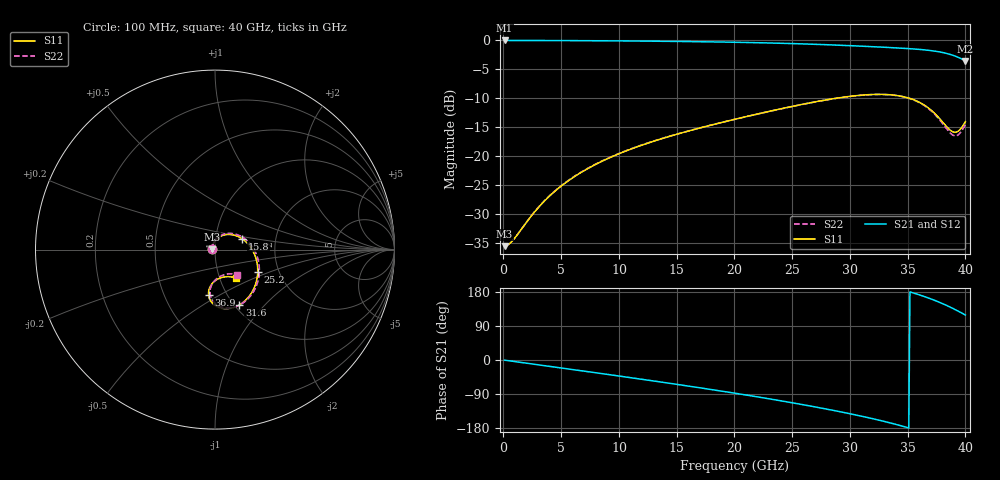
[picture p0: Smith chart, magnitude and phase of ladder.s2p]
! A_s4_d200_ap800: via ladder as kisi uses it (kisi_si::via_pbm, graded grid, junction model), ports at the via
# Hz S RI R 50
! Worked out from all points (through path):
!   400 points, 100 MHz to 40 GHz, reference 50 ohm
!   highest |S21| = -0.15 dB at 100 MHz (marker M1); lowest = -3.7 dB at 40 GHz (marker M2)
!   group delay of S21, straight-line fit = 15 ps
!   lowest |S11| = -35.5 dB at 100 MHz (marker M3), VSWR 1.03, Z = 48.3 + j0.116 ohm
!   |S11| at or under -10 dB: start of sweep to 29.05 GHz; 35.03 GHz to end of sweep
!   |S22| runs from -35.5 to -9.4 dB; largest |S21 - S12| = 0
!   S11 on the Smith chart (normalised r, x): 100 MHz: 0.97, +0.00; 15.8 GHz: 1.34, +0.17; 25.2 GHz: 1.55, -0.42; 31.6 GHz: 1.05, -0.73; 36.9 GHz: 0.82, -0.44; 40 GHz: 1.20, -0.39
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1e8  -0.0168 0.0012  0.9832 -0.00718  0.9832 -0.00718  -0.0168 0.0012
8e8  -0.0162 0.00957  0.9815 -0.0574  0.9815 -0.0574  -0.0163 0.00955
2.6e9  -0.0107 0.0304  0.9649 -0.1855  0.9649 -0.1855  -0.0112 0.0305
3.8e9  -0.00386 0.0433  0.9443 -0.2692  0.9443 -0.2692  -0.00504 0.0435
6.8e9  0.0228 0.0694  0.8601 -0.468  0.8601 -0.468  0.0195 0.071
1e10  0.0632 0.0834  0.7221 -0.655  0.7221 -0.655  0.0576 0.0881
1.34e10  0.1136 0.0783  0.5269 -0.8126  0.5269 -0.8126  0.1069 0.088
1.58e10  0.1501 0.0607  0.3638 -0.8913  0.3638 -0.8913  0.1441 0.0744
1.8e10  0.1815 0.034  0.1999 -0.9351  0.1999 -0.9351  0.1776 0.0511
2.01e10  0.2077 -0.00143  0.0344 -0.9482  0.0344 -0.9482  0.2067 0.0182
2.27e10  0.2309 -0.0586  -0.176 -0.9206  -0.176 -0.9206  0.2349 -0.0375
2.52e10  0.238 -0.1264  -0.3742 -0.8441  -0.3742 -0.8441  0.2472 -0.1059
2.67e10  0.232 -0.1715  -0.4863 -0.7731  -0.4863 -0.7731  0.2442 -0.1524
2.92e10  0.1992 -0.2477  -0.6518 -0.612  -0.6518 -0.612  0.2155 -0.2327
3.16e10  0.1361 -0.3079  -0.7726 -0.4061  -0.7726 -0.4061  0.1544 -0.2984
3.34e10  0.0705 -0.329  -0.8274 -0.2172  -0.8274 -0.2172  0.0882 -0.3239
3.53e10  -0.0016 -0.3101  -0.8339 0.0179  -0.8339 0.0179  0.0128 -0.3086
3.69e10  -0.0358 -0.2515  -0.7699 0.2429  -0.7699 0.2429  -0.0265 -0.2497
3.8e10  -0.021 -0.1963  -0.6654 0.399  -0.6654 0.399  -0.0153 -0.1909
3.9e10  0.0327 -0.157  -0.5139 0.5168  -0.5139 0.5168  0.0371 -0.1452
3.95e10  0.0729 -0.1508  -0.4188 0.5559  -0.4188 0.5559  0.0781 -0.1351
4e10  0.1177 -0.1586  -0.3151 0.5757  -0.3151 0.5757  0.1251 -0.1388
